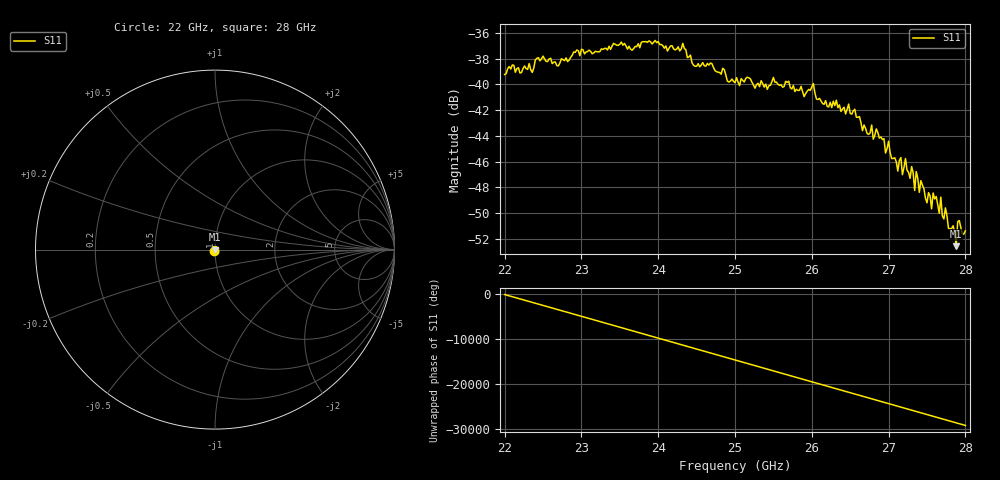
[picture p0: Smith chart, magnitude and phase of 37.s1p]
#  HZ  S  RI  R  50.00
! Rohde & Schwarz ZVA40 4Ports - Version 3.90 - 1145.1110k42 SN: 100403
! Date: 2023-10-04 08:45:21
! Measurement: S12
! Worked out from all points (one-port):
!   301 points, 22 GHz to 28 GHz, reference 50 ohm
!   lowest |S11| = -52.6 dB at 27.88 GHz (marker M1), VSWR 1.00, Z = 49.8 - j0.034 ohm
!   |S11| at or under -10 dB: start of sweep to end of sweep
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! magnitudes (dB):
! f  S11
! 22 GHz  -39.2
! 22.76 GHz  -38.1
! 23.5 GHz  -36.9
! 24.26 GHz  -37.1
! 25 GHz  -39.9
! 25.76 GHz  -40.1
! 25.9 GHz  -41.0
! 26.02 GHz  -39.9
! 26.06 GHz  -41.1
! 26.5 GHz  -42.2
! 26.96 GHz  -45.3
! 27 GHz  -44.4
! 27.12 GHz  -46.7
! 27.26 GHz  -46.8
! 27.3 GHz  -46.4
! 27.34 GHz  -48.2
! 27.36 GHz  -46.8
! 27.4 GHz  -48.4
! 27.42 GHz  -47.5
! 27.56 GHz  -49.7
! 27.58 GHz  -48.4
! 27.66 GHz  -50.0
! 27.68 GHz  -48.8
! 27.7 GHz  -50.2
! 27.74 GHz  -49.6
! 27.88 GHz  -52.6
! 27.9 GHz  -50.7
! 28 GHz  -51.4
